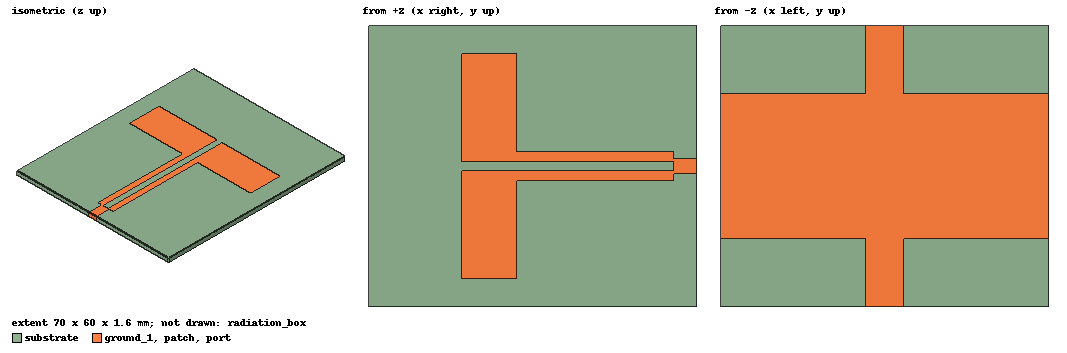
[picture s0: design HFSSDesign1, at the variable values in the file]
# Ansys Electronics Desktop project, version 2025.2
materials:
  vacuum: permittivity=1
  FR4_epoxy: permittivity=4.4 dielectric_loss_tangent=0.02

design HFSSDesign1 (HFSS, HFSS Terminal Network, model units mm)
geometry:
  substrate [FR4_epoxy] = box(corner=(0mm, 0mm, 0mm), size=(70mm, 60mm, 1.6mm))
  ground_1 = rectangle(corner=(70mm, 14.5mm, 0mm), x_size=-70mm, y_size=31mm)
  ground2 = rectangle(corner=(31mm, 0mm, 0mm), x_size=8mm, y_size=60mm)
  ground_1.unite(ground2)
  patch = rectangle(corner=(70mm, 28.5mm, 1.6mm), x_size=-5mm, y_size=3mm)
  patch2 = rectangle(corner=(65mm, (30+1) mm, 1.6mm), x_size=-33.5mm, y_size=2mm)
  patch3 = rectangle(corner=(65mm, (30-1) mm, 1.6mm), x_size=-33.5mm, y_size=-2mm)
  patch4 = rectangle(corner=(31.5mm, 29mm, 1.6mm), x_size=-11.7mm, y_size=-23mm)
  patch5 = rectangle(corner=(31.5mm, 31mm, 1.6mm), x_size=-11.7mm, y_size=23mm)
  patch.unite(patch2..patch5)
  port = rectangle(corner=(70mm, 28.5mm, 1.6mm), y_size=3mm, z_size=-1.6mm)
  radiation_box [vacuum] = box(corner=(-23mm, -23mm, -23mm), size=((23*2+70) mm, (23*2+60) mm, (23*2+1.6) mm))
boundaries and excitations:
  Rad1: Radiation Objects=radiation_box
  PerfE1: Perfect E Objects=[ground_1, patch]
  1: Lumped Port Objects=port LumpedPortType=Modal Modes{Mode1{IntLine{(70, 30, 0) -> (70, 30, 1.6)} CharImp=Zpi RenormImp=50ohm}} Impedance=50ohm
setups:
  Setup1: HfssDriven Frequency=5.25GHz MaxDeltaS=0.02 MaximumPasses=20 MinimumPasses=1 MinimumConvergedPasses=1 PercentRefinement=30 BasisOrder=1 PortAccuracy=2 DrivenSolverType="Direct Solver"
    sweep Sweep: 2GHz to 7GHz, 401 points; Type=Discrete SaveFields
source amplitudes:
  1:1: 1V 0deg
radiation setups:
  Infinite Sphere1: Infinite Sphere Theta=0deg..180deg step 10deg Phi=0deg..180deg step 180deg
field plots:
  Mag_Jsurf1: Jsurf over patch.face(at (44.9, 30, 1.6)) on Setup1 : LastAdaptive at Freq=5.25GHz Phase=0deg
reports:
  S Parameter Plot1: dB(S(1,1)) vs Freq on Setup1 : Sweep; markers m1 at 3.4125GHz, m2 at 5.0125GHz
  VSWR Plot1: VSWR(1) vs Freq on Setup1 : Sweep
  rE Plot1: rETotal vs Phi, Theta on Setup1 : LastAdaptive, Infinite Sphere1 [Freq=5.25GHz]
  Gain Plot1: GainTotal vs Phi, Theta on Setup1 : LastAdaptive, Infinite Sphere1 [Freq=5.25GHz]
